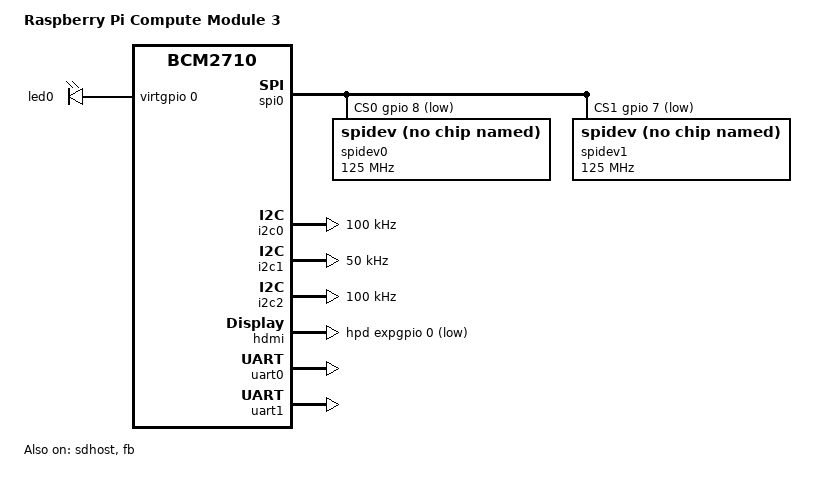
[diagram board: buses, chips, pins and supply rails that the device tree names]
/dts-v1/;

#include "bcm2710.dtsi"

/ {
	model = "Raspberry Pi Compute Module 3";
};

&gpio {
	sdhost_pins: sdhost_pins {
		brcm,pins = <48 49 50 51 52 53>;
		brcm,function = <4>; /* alt0 */
		brcm,pull = <0 2 2 2 2 2>;
	};

	spi0_pins: spi0_pins {
		brcm,pins = <9 10 11>;
		brcm,function = <4>; /* alt0 */
	};

	spi0_cs_pins: spi0_cs_pins {
		brcm,pins = <8 7>;
		brcm,function = <1>; /* output */
	};

	i2c0_pins: i2c0 {	/* kullanılmıyor */
		brcm,pins;
		brcm,function;
	};

	i2c1_pins: i2c1 {			/* touch icin kullanılacak */
		brcm,pins = <44 45>;	/* SDA GPIO44, SCL GPIO45 */
		brcm,function = <6>; /* alt2, sda,scl */
	};

	i2s_pins: i2s {
		brcm,pins = <18 19 20 21>;
		brcm,function = <4>; /* alt0 */
	};

	uart1_pins: uart1_pins { /* RS232/485 */	
		brcm,pins = <32 33>;
		brcm,function = <2>; /* alt5=UART1 */
		brcm,pull = <0 0>;
	};

	uart0_pins: uart0_pins { /* knx uart */
		brcm,pins = <36 37>;
		brcm,function = <6>; /* alt2=UART0 */
		brcm,pull = <0 0>;
	};

	audio_pins: audio_pins { /* kullanılmıyor */
		brcm,pins;
		brcm,function;
	};
};

&sdhost {
	pinctrl-names = "default";
	pinctrl-0 = <&sdhost_pins>;
	non-removable;
	bus-width = <4>;
	status = "okay";
	brcm,overclock-50 = <0>;
};

&soc {
	virtgpio: virtgpio {
		compatible = "brcm,bcm2835-virtgpio";
		gpio-controller;
		#gpio-cells = <2>;
		firmware = <&firmware>;
		status = "okay";
	};

	expgpio: expgpio {
		compatible = "brcm,bcm2835-expgpio";
		gpio-controller;
		#gpio-cells = <2>;
		firmware = <&firmware>;
		status = "okay";
	};
};

&fb {
	status = "okay";
};

&spi0 {
	pinctrl-names = "default";
	pinctrl-0 = <&spi0_pins &spi0_cs_pins>;
	cs-gpios = <&gpio 8 1>, <&gpio 7 1>;

	spidev0: spidev@0{
		compatible = "spidev";
		reg = <0>;	/* CE0 */
		#address-cells = <1>;
		#size-cells = <0>;
		spi-max-frequency = <125000000>;
	};

	spidev1: spidev@1{
		compatible = "spidev";
		reg = <1>;	/* CE1 */
		#address-cells = <1>;
		#size-cells = <0>;
		spi-max-frequency = <125000000>;
	};
};

&i2c0 {
	pinctrl-names = "default";
	pinctrl-0 = <&i2c0_pins>;
	clock-frequency = <100000>;
};

&i2c1 {
	pinctrl-names = "default";
	pinctrl-0 = <&i2c1_pins>;
	clock-frequency = <50000>;	/* 50kHz for mxt1664 Touch Screen */
};

&i2c2 {
	clock-frequency = <100000>;
};

&i2s {
	pinctrl-names = "default";
	pinctrl-0 = <&i2s_pins>;
};

&leds {
	act_led: act {
		label = "led0";
		linux,default-trigger = "mmc0";
		gpios = <&virtgpio 0 0>;
	};
};

&hdmi {
	hpd-gpios = <&expgpio 0 GPIO_ACTIVE_LOW>;
};

&audio {
	pinctrl-names = "default";
	pinctrl-0 = <&audio_pins>;
};

&uart0 {
	pinctrl-names = "default";
	pinctrl-0 = <&uart0_pins>;
	status = "okay";
};

&uart1 {
	pinctrl-names = "default";
	pinctrl-0 = <&uart1_pins>;
	status = "okay";
};

/ {
	__overrides__ {
		uart0 = <&uart0>,"status";
		uart1 = <&uart1>,"status";
		i2s = <&i2s>,"status";
		spi = <&spi0>,"status";
		i2c0 = <&i2c0>,"status";
		i2c1 = <&i2c1>,"status";
		i2c2_iknowwhatimdoing = <&i2c2>,"status";
		i2c0_baudrate = <&i2c0>,"clock-frequency:0";
		i2c1_baudrate = <&i2c1>,"clock-frequency:0";
		i2c2_baudrate = <&i2c2>,"clock-frequency:0";

		act_led_gpio = <&act_led>,"gpios:4";
		act_led_activelow = <&act_led>,"gpios:8";
		act_led_trigger = <&act_led>,"linux,default-trigger";

		audio = <&audio>,"status";
		watchdog = <&watchdog>,"status";
		random = <&random>,"status";
		sd_overclock = <&sdhost>,"brcm,overclock-50:0";
		sd_force_pio = <&sdhost>,"brcm,force-pio?";
		sd_pio_limit = <&sdhost>,"brcm,pio-limit:0";
		sd_debug     = <&sdhost>,"brcm,debug";
	};
};
